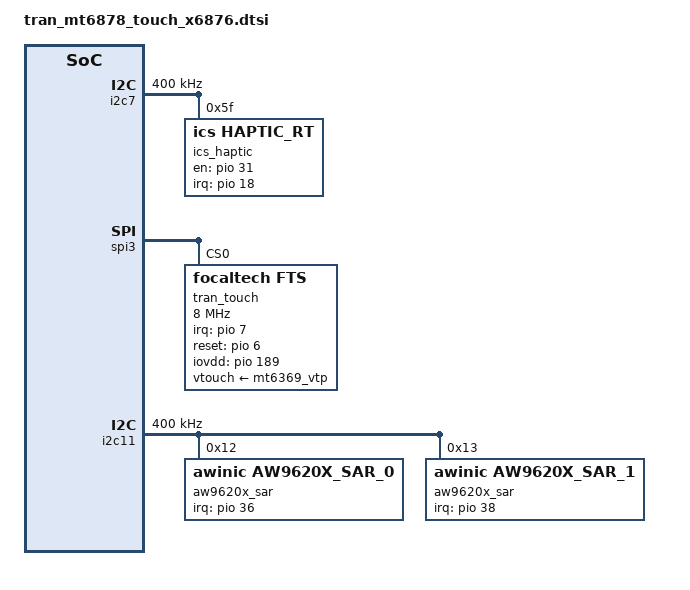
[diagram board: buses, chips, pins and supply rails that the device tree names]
// SPDX-License-Identifier: (GPL-2.0 OR MIT)
/*
 * Copyright (C) 2020 MediaTek Inc.
 */
/* TOUCH start */
&odm {
        touch: touch {
                compatible = "mediatek,touch";
        };
};
/* RT6010 Haptic start */
&i2c7 {
	clock-frequency = <400000>;
	ics_haptic@5f {
		compatible = "ics,haptic_rt";
		reg = <0x5f>;
		interrupt-parent = <&pio>;
		interrupts = <18 IRQ_TYPE_EDGE_FALLING 18 0>;
		device-name = "vibrator_single";
		richtap-name = "aw8697_haptic";
		gpio-en = <&pio 31 0>;
		gpio-irq = <&pio 18 0>;
		status = "ok";
		// rt6010 chip configuration
		rt6010_chip_id = <0x6B>;
		rt6010_reg_size = <0x6C>;
		rt6010_ram_size = <0x600>;
		rt6010_sys_f0 = <1700>;
		rt6010_list_base_addr = <0x400>;
		rt6010_wave_base_addr = <0x420>;
		rt6010_fifo_ae = <0x200>;
		rt6010_fifo_af = <0x300>;
		rt6010_boost_mode = <0x00>;
		rt6010_boost_vol = <0x0d>;
		rt6010_gain = <0x80>;
		rt6010_brake_en = <0>;
		rt6010_brake_wave_no = <0>;
		rt6010_brake_const = <0>;
		rt6010_brake_acq_point = <0>;
	};
};
/* RT6010 Haptic end */
/* TP start */
&touch {
	supplier-num = <1>;
	supplier-vendor-0 = "TM";
	supplier-vendor-fwname-0 = "focaltech_ts_fw.bin";
	supplier-0 = "any, focaltech, ft3682g";
	supplier-resolution-0 = <16>;
};

&spi3 {
	tran_touch:touch@0 {
        compatible = "focaltech,fts";
        reg = <0>;
        spi-max-frequency = <8000000>;
        vtouch-supply = <&mt6369_vtp>;
        focaltech,irq-gpio = <&pio 7 0x0>;
        focaltech,reset-gpio = <&pio 6 0x0>;
        focaltech,iovdd-gpio = <&pio 189 0x0>;
        focaltech,max-touch-number = <10>;
        focaltech,display-coords =  <0 0 19583 43519>;
        focaltech,pocket-function-support;
        focaltech,fod-function-support;
        focaltech,switch-report-support;
		 pinctrl-names = "default","state_spi_mode";
		 pinctrl-0 = <&ctp_pins_default>;
		 pinctrl-1 = <&ctp_pins_spi_mode>;
	};
};
&pio {
	ctp_pins_default: ctp_default {
	};
	ctp_pins_spi_mode: ctp_spimode_default {
		pins_cmd_dat {
			pinmux = <PINMUX_GPIO71__FUNC_SPI3_MI>,
					 <PINMUX_GPIO69__FUNC_SPI3_CSB>,
					 <PINMUX_GPIO70__FUNC_SPI3_MO>,
					 <PINMUX_GPIO68__FUNC_SPI3_CLK>;
			drive-strength = <2>;
		};
	};
};
/* tp end */
/* AWINIC Haptic start */
&chosen {
        lra,info = <1 7 31>;//type:(1:X-lra 2:Z-lra)  bus_num:i2c5  reset_gpio:gpio31
};
/* key start */
&mt6363keys {
	home {
		linux,keycodes = <114>;
	};
};
/* key start */
/* shoulder key start */
&i2c11 {
	clock-frequency = <400000>;
	status = "okay";
	aw9620x_sar@12 {
		compatible = "awinic,aw9620x_sar_0";
		reg = <0x12>;
		sar-num = < 0 >;
		interrupt-parent = <&pio>;
		interrupts = <36 0x0>;
		irq-gpio = <&pio 36 0x0>;
		//vcc0-supply = <&pm660l_l4>;
		channel_use_flag = <0xff>;
		//aw9620x,using-arr-laod-reg;
		air_diff_limit_max = <1500>;
		air_diff_limit_min = <(-1500)>;
		air_parasitic_limit_max = <400000>;
		air_parasitic_limit_min = <90000>;
		contact_diff_limit = <30000>;
		status = "okay";
	};
	aw9620x_sar@13 {
		compatible = "awinic,aw9620x_sar_1";
		reg = <0x13>;
		sar-num = < 1 >;
		interrupt-parent = <&pio>;
		interrupts = <38 0x0>;
		irq-gpio = <&pio 38 0x0>;
		//vcc0-supply = <&pm660l_l4>;
		channel_use_flag = <0xff>;
		//aw9620x,using-arr-laod-reg;
		air_diff_limit_max = <1500>;
		air_diff_limit_min = <(-1500)>;
		air_parasitic_limit_max = <650000>;
		air_parasitic_limit_min = <140000>;
		contact_diff_limit = <30000>;
		status = "okay";
	};
};
/* shoulder key end */
#include "mediatek/omnivision_test_spi.dtsi"

/* TOUCH end */
